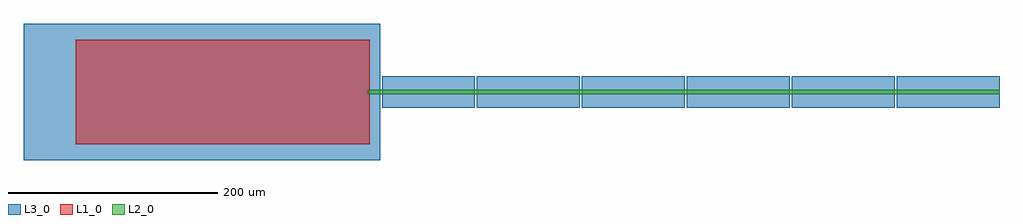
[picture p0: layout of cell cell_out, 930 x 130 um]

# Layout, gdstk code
import gdstk
lib = gdstk.Library(unit=1e-6, precision=1e-09)
def R(c, l, rs):  # rectangles x0, y0, x1, y1
    for r in rs: c.add(gdstk.rectangle(r[:2], r[2:], *l))
def A(c, l, x, y, w, h, nx, ny, dx, dy):  # array of equal rectangles
    R(c, l, [(x+i*dx, y+j*dy, x+i*dx+w, y+j*dy+h) for i in range(nx) for j in range(ny)])
L1_0 = (1, 0)
L2_0 = (2, 0)
L3_0 = (3, 0)

cell_out = lib.new_cell('cell_out')
R(cell_out, L1_0, [(50,-50,330,50)])
R(cell_out, L2_0, [(328,-2,930,2)])
A(cell_out, L3_0, 432, -15, 98, 30, 5, 1, 100, 0)
R(cell_out, L3_0, [(0,-65,340,65), (342,-15,430,15)])

lib.write_gds('cell_out.gds')
